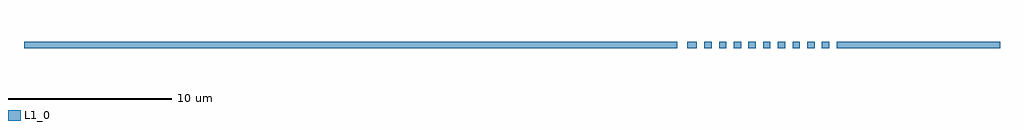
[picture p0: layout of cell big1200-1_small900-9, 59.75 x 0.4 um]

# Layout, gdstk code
import gdstk
lib = gdstk.Library(unit=1e-6, precision=1e-09)
def R(c, l, rs):  # rectangles x0, y0, x1, y1
    for r in rs: c.add(gdstk.rectangle(r[:2], r[2:], *l))
def A(c, l, x, y, w, h, nx, ny, dx, dy):  # array of equal rectangles
    R(c, l, [(x+i*dx, y+j*dy, x+i*dx+w, y+j*dy+h) for i in range(nx) for j in range(ny)])
L1_0 = (1, 0)

big1200_1_small900_9 = lib.new_cell('big1200-1_small900-9')
A(big1200_1_small900_9, L1_0, 1.65, 0, 0.45, 0.4, 9, 1, 0.9, 0)
R(big1200_1_small900_9, L1_0, [(-40,0,0,0.4), (0.6,0,1.2,0.4), (9.75,0,19.75,0.4)])

lib.write_gds('big1200-1_small900-9.gds')
